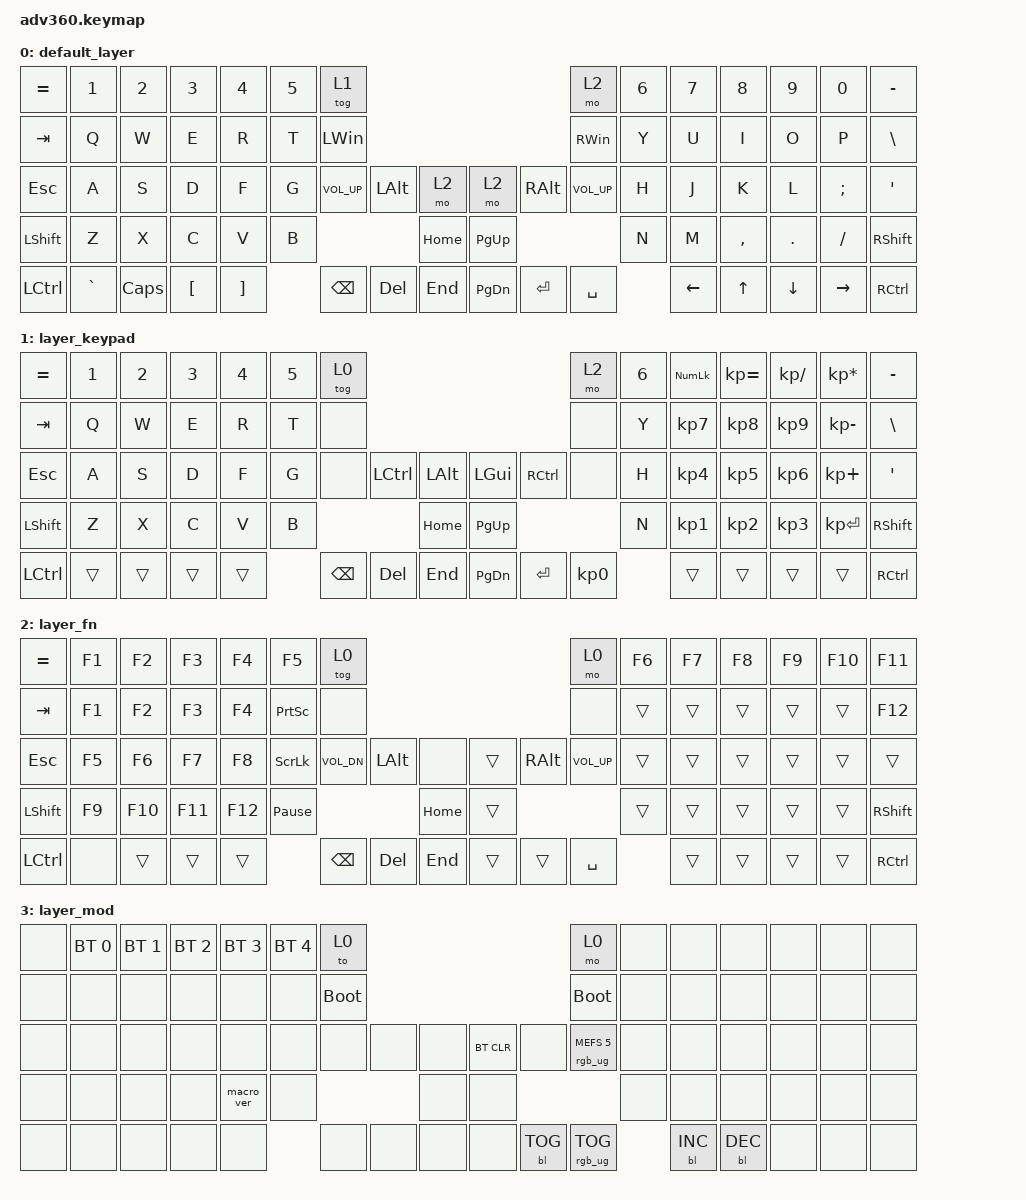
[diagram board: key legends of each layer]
/*
 * Copyright (c) 2020 The ZMK Contributors
 *
 * SPDX-License-Identifier: MIT
 */
/* THIS FILE WAS GENERATED!
 *
 * This file was generated automatically. You may or may not want to
 * edit it directly.
 */

#include <behaviors.dtsi>
#include <dt-bindings/zmk/backlight.h>
#include <dt-bindings/zmk/bt.h>
#include <dt-bindings/zmk/keys.h>
#include <dt-bindings/zmk/rgb.h>

/ {
    behaviors {
        #include "macros.dtsi"
    #include "version.dtsi"

        hm: homerow_mods {
            compatible = "zmk,behavior-hold-tap";
            label = "HOMEROW_MODS";
            #binding-cells = <2>;
            tapping-term-ms = <200>;
            quick_tap_ms = <175>;
            flavor = "tap-preferred";
            bindings = <&kp>, <&kp>;
        };
    };

    keymap {
        compatible = "zmk,keymap";

        default_layer {
            bindings = <
&kp EQUAL  &kp N1     &kp N2    &kp N3            &kp N4             &kp N5  &tog 1                                                          &mo 2            &kp N6  &kp N7    &kp N8     &kp N9    &kp N0     &kp MINUS
&kp TAB    &kp Q      &kp W     &kp E             &kp R              &kp T   &kp LWIN                                                        &kp RIGHT_WIN    &kp Y   &kp U     &kp I      &kp O     &kp P      &kp BSLH
&kp ESC    &kp A      &kp S     &kp D             &kp F              &kp G   &kp C_VOL_UP  &kp LEFT_ALT  &mo 2         &mo 2      &kp RALT   &kp C_VOLUME_UP  &kp H   &kp J     &kp K      &kp L     &kp SEMI   &kp SQT
&kp LSHFT  &kp Z      &kp X     &kp C             &kp V              &kp B                               &kp HOME      &kp PG_UP                              &kp N   &kp M     &kp COMMA  &kp DOT   &kp FSLH   &kp RSHFT
&kp LCTRL  &kp GRAVE  &kp CAPS  &kp LEFT_BRACKET  &kp RIGHT_BRACKET          &kp BSPC      &kp DEL       &kp END       &kp PG_DN  &kp ENTER  &kp SPACE                &kp LEFT  &kp UP     &kp DOWN  &kp RIGHT  &kp RCTRL
            >;
        };

        layer_keypad {
            bindings = <
&kp EQUAL  &kp N1  &kp N2  &kp N3  &kp N4  &kp N5  &tog 0                                                   &mo 2      &kp N6  &kp KP_NUM  &kp KP_EQUAL  &kp KP_DIVIDE  &kp KP_MULTIPLY  &kp MINUS
&kp TAB    &kp Q   &kp W   &kp E   &kp R   &kp T   &none                                                    &none      &kp Y   &kp KP_N7   &kp KP_N8     &kp KP_N9      &kp KP_MINUS     &kp BSLH
&kp ESC    &kp A   &kp S   &kp D   &kp F   &kp G   &none     &kp LCTRL  &kp LALT      &kp LGUI   &kp RCTRL  &none      &kp H   &kp KP_N4   &kp KP_N5     &kp KP_N6      &kp KP_PLUS      &kp SQT
&kp LSHFT  &kp Z   &kp X   &kp C   &kp V   &kp B                        &kp HOME      &kp PG_UP                        &kp N   &kp KP_N1   &kp KP_N2     &kp KP_N3      &kp KP_ENTER     &kp RSHFT
&kp LCTRL  &trans  &trans  &trans  &trans          &kp BSPC  &kp DEL    &kp END       &kp PG_DN  &kp ENTER  &kp KP_N0          &trans      &trans        &trans         &trans           &kp RCTRL
            >;
        };

        layer_fn {
            bindings = <
&kp EQUAL       &kp F1  &kp F2   &kp F3   &kp F4   &kp F5           &tog 0                                                            &mo 0         &kp F6  &kp F7  &kp F8  &kp F9  &kp F10  &kp F11
&kp TAB         &kp F1  &kp F2   &kp F3   &kp F4   &kp PRINTSCREEN  &none                                                             &none         &trans  &trans  &trans  &trans  &trans   &kp F12
&kp ESC         &kp F5  &kp F6   &kp F7   &kp F8   &kp SCROLLLOCK   &kp C_VOL_DN   &kp LEFT_ALT  &none         &trans  &kp RIGHT_ALT  &kp C_VOL_UP  &trans  &trans  &trans  &trans  &trans   &trans
&kp LEFT_SHIFT  &kp F9  &kp F10  &kp F11  &kp F12  &kp PAUSE_BREAK                               &kp HOME      &trans                               &trans  &trans  &trans  &trans  &trans   &kp RIGHT_SHIFT
&kp LCTRL       &none   &trans   &trans   &trans                    &kp BACKSPACE  &kp DEL       &kp END       &trans  &trans         &kp SPACE             &trans  &trans  &trans  &trans   &kp RCTRL
            >;
        };

        layer_mod {
            bindings = <
&none  &bt BT_SEL 0  &bt BT_SEL 1  &bt BT_SEL 2  &bt BT_SEL 3  &bt BT_SEL 4  &to 0                                                  &mo 0                   &none  &none       &none       &none  &none  &none
&none  &none         &none         &none         &none         &none         &bootloader                                            &bootloader             &none  &none       &none       &none  &none  &none
&none  &none         &none         &none         &none         &none         &none        &none  &none      &bt BT_CLR  &none       &rgb_ug RGB_MEFS_CMD 5  &none  &none       &none       &none  &none  &none
&none  &none         &none         &none         &macro_ver    &none                             &none      &none                                           &none  &none       &none       &none  &none  &none
&none  &none         &none         &none         &none                       &none        &none  &none      &none       &bl BL_TOG  &rgb_ug RGB_TOG                &bl BL_INC  &bl BL_DEC  &none  &none  &none
            >;
        };
    };
};
